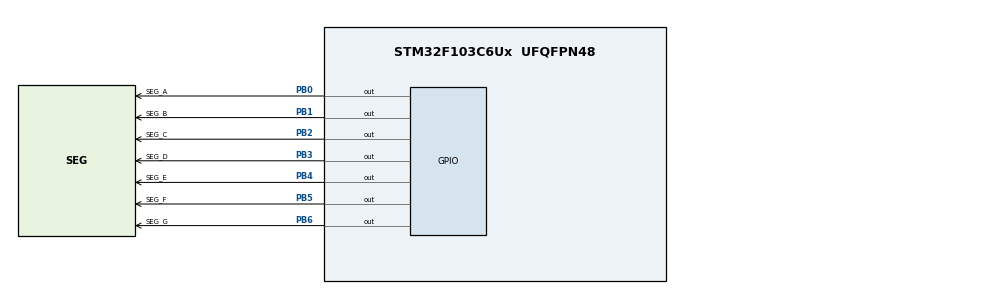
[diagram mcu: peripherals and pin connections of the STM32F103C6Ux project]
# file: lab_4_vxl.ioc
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Mcu.Family=STM32F1
Mcu.Name=STM32F103C6Ux
Mcu.Package=UFQFPN48
NVIC.PriorityGroup=NVIC_PRIORITYGROUP_4
PB0.GPIO_Label=SEG_A
PB0.Signal=GPIO_Output
PB1.GPIO_Label=SEG_B
PB1.Signal=GPIO_Output
PB2.GPIO_Label=SEG_C
PB2.Signal=GPIO_Output
PB3.GPIO_Label=SEG_D
PB3.Signal=GPIO_Output
PB4.GPIO_Label=SEG_E
PB4.Signal=GPIO_Output
PB5.GPIO_Label=SEG_F
PB5.Signal=GPIO_Output
PB6.GPIO_Label=SEG_G
PB6.Signal=GPIO_Output
ProjectManager.HeapSize=0x200
ProjectManager.StackSize=0x400
ProjectManager.TargetToolchain=STM32CubeIDE
RCC.APB1Freq_Value=8000000
RCC.APB2Freq_Value=8000000
VP_SYS_VS_ND.Mode=No_Debug
board=custom

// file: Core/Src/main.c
/* USER CODE BEGIN Header */
/**
  ******************************************************************************
  * @file           : main.c
  * @brief          : Main program body
  ******************************************************************************
  * @attention
  *
  * <h2><center>&copy; Copyright (c) 2026 STMicroelectronics.
  * All rights reserved.</center></h2>
  *
  * This software component is licensed by ST under BSD 3-Clause license,
  * the "License"; You may not use this file except in compliance with the
  * License. You may obtain a copy of the License at:
  *                        opensource.org/licenses/BSD-3-Clause
  *
  ******************************************************************************
  */
/* USER CODE END Header */
#include "main.h"

void SystemClock_Config(void);
static void MX_GPIO_Init(void);

/* USER CODE BEGIN 0 */

void display7SEG(int num)
{
    switch (num)
    {
        case 0:
            HAL_GPIO_WritePin(GPIOB, SEG_A_Pin, GPIO_PIN_RESET);
            HAL_GPIO_WritePin(GPIOB, SEG_B_Pin, GPIO_PIN_RESET);
            HAL_GPIO_WritePin(GPIOB, SEG_C_Pin, GPIO_PIN_RESET);
            HAL_GPIO_WritePin(GPIOB, SEG_D_Pin, GPIO_PIN_RESET);
            HAL_GPIO_WritePin(GPIOB, SEG_E_Pin, GPIO_PIN_RESET);
            HAL_GPIO_WritePin(GPIOB, SEG_F_Pin, GPIO_PIN_RESET);
            HAL_GPIO_WritePin(GPIOB, SEG_G_Pin, GPIO_PIN_SET);
            break;

        case 1:
            HAL_GPIO_WritePin(GPIOB, SEG_A_Pin, GPIO_PIN_SET);
            HAL_GPIO_WritePin(GPIOB, SEG_B_Pin, GPIO_PIN_RESET);
            HAL_GPIO_WritePin(GPIOB, SEG_C_Pin, GPIO_PIN_RESET);
            HAL_GPIO_WritePin(GPIOB, SEG_D_Pin, GPIO_PIN_SET);
            HAL_GPIO_WritePin(GPIOB, SEG_E_Pin, GPIO_PIN_SET);
            HAL_GPIO_WritePin(GPIOB, SEG_F_Pin, GPIO_PIN_SET);
            HAL_GPIO_WritePin(GPIOB, SEG_G_Pin, GPIO_PIN_SET);
            break;

        case 2:
            HAL_GPIO_WritePin(GPIOB, SEG_A_Pin, GPIO_PIN_RESET);
            HAL_GPIO_WritePin(GPIOB, SEG_B_Pin, GPIO_PIN_RESET);
            HAL_GPIO_WritePin(GPIOB, SEG_C_Pin, GPIO_PIN_SET);
            HAL_GPIO_WritePin(GPIOB, SEG_D_Pin, GPIO_PIN_RESET);
            HAL_GPIO_WritePin(GPIOB, SEG_E_Pin, GPIO_PIN_RESET);
            HAL_GPIO_WritePin(GPIOB, SEG_F_Pin, GPIO_PIN_SET);
            HAL_GPIO_WritePin(GPIOB, SEG_G_Pin, GPIO_PIN_RESET);
            break;

        case 3:
            HAL_GPIO_WritePin(GPIOB, SEG_A_Pin, GPIO_PIN_RESET);
            HAL_GPIO_WritePin(GPIOB, SEG_B_Pin, GPIO_PIN_RESET);
            HAL_GPIO_WritePin(GPIOB, SEG_C_Pin, GPIO_PIN_RESET);
            HAL_GPIO_WritePin(GPIOB, SEG_D_Pin, GPIO_PIN_RESET);
            HAL_GPIO_WritePin(GPIOB, SEG_E_Pin, GPIO_PIN_SET);
            HAL_GPIO_WritePin(GPIOB, SEG_F_Pin, GPIO_PIN_SET);
            HAL_GPIO_WritePin(GPIOB, SEG_G_Pin, GPIO_PIN_RESET);
            break;

        case 4:
            HAL_GPIO_WritePin(GPIOB, SEG_A_Pin, GPIO_PIN_SET);
            HAL_GPIO_WritePin(GPIOB, SEG_B_Pin, GPIO_PIN_RESET);
            HAL_GPIO_WritePin(GPIOB, SEG_C_Pin, GPIO_PIN_RESET);
            HAL_GPIO_WritePin(GPIOB, SEG_D_Pin, GPIO_PIN_SET);
            HAL_GPIO_WritePin(GPIOB, SEG_E_Pin, GPIO_PIN_SET);
            HAL_GPIO_WritePin(GPIOB, SEG_F_Pin, GPIO_PIN_RESET);
            HAL_GPIO_WritePin(GPIOB, SEG_G_Pin, GPIO_PIN_RESET);
            break;

        case 5:
            HAL_GPIO_WritePin(GPIOB, SEG_A_Pin, GPIO_PIN_RESET);
            HAL_GPIO_WritePin(GPIOB, SEG_B_Pin, GPIO_PIN_SET);
            HAL_GPIO_WritePin(GPIOB, SEG_C_Pin, GPIO_PIN_RESET);
            HAL_GPIO_WritePin(GPIOB, SEG_D_Pin, GPIO_PIN_RESET);
            HAL_GPIO_WritePin(GPIOB, SEG_E_Pin, GPIO_PIN_SET);
            HAL_GPIO_WritePin(GPIOB, SEG_F_Pin, GPIO_PIN_RESET);
            HAL_GPIO_WritePin(GPIOB, SEG_G_Pin, GPIO_PIN_RESET);
            break;

        case 6:
            HAL_GPIO_WritePin(GPIOB, SEG_A_Pin, GPIO_PIN_RESET);
            HAL_GPIO_WritePin(GPIOB, SEG_B_Pin, GPIO_PIN_SET);
            HAL_GPIO_WritePin(GPIOB, SEG_C_Pin, GPIO_PIN_RESET);
            HAL_GPIO_WritePin(GPIOB, SEG_D_Pin, GPIO_PIN_RESET);
            HAL_GPIO_WritePin(GPIOB, SEG_E_Pin, GPIO_PIN_RESET);
            HAL_GPIO_WritePin(GPIOB, SEG_F_Pin, GPIO_PIN_RESET);
            HAL_GPIO_WritePin(GPIOB, SEG_G_Pin, GPIO_PIN_RESET);
            break;

        case 7:
            HAL_GPIO_WritePin(GPIOB, SEG_A_Pin, GPIO_PIN_RESET);
            HAL_GPIO_WritePin(GPIOB, SEG_B_Pin, GPIO_PIN_RESET);
            HAL_GPIO_WritePin(GPIOB, SEG_C_Pin, GPIO_PIN_RESET);
            HAL_GPIO_WritePin(GPIOB, SEG_D_Pin, GPIO_PIN_SET);
            HAL_GPIO_WritePin(GPIOB, SEG_E_Pin, GPIO_PIN_SET);
            HAL_GPIO_WritePin(GPIOB, SEG_F_Pin, GPIO_PIN_SET);
            HAL_GPIO_WritePin(GPIOB, SEG_G_Pin, GPIO_PIN_SET);
            break;

        case 8:
            HAL_GPIO_WritePin(GPIOB, SEG_A_Pin, GPIO_PIN_RESET);
            HAL_GPIO_WritePin(GPIOB, SEG_B_Pin, GPIO_PIN_RESET);
            HAL_GPIO_WritePin(GPIOB, SEG_C_Pin, GPIO_PIN_RESET);
            HAL_GPIO_WritePin(GPIOB, SEG_D_Pin, GPIO_PIN_RESET);
            HAL_GPIO_WritePin(GPIOB, SEG_E_Pin, GPIO_PIN_RESET);
            HAL_GPIO_WritePin(GPIOB, SEG_F_Pin, GPIO_PIN_RESET);
            HAL_GPIO_WritePin(GPIOB, SEG_G_Pin, GPIO_PIN_RESET);
            break;

        case 9:
            HAL_GPIO_WritePin(GPIOB, SEG_A_Pin, GPIO_PIN_RESET);
            HAL_GPIO_WritePin(GPIOB, SEG_B_Pin, GPIO_PIN_RESET);
            HAL_GPIO_WritePin(GPIOB, SEG_C_Pin, GPIO_PIN_RESET);
            HAL_GPIO_WritePin(GPIOB, SEG_D_Pin, GPIO_PIN_RESET);
            HAL_GPIO_WritePin(GPIOB, SEG_E_Pin, GPIO_PIN_SET);
            HAL_GPIO_WritePin(GPIOB, SEG_F_Pin, GPIO_PIN_RESET);
            HAL_GPIO_WritePin(GPIOB, SEG_G_Pin, GPIO_PIN_RESET);
            break;

        default:
            // Tắt tất cả các đoạn
            HAL_GPIO_WritePin(GPIOB,
                              SEG_A_Pin | SEG_B_Pin | SEG_C_Pin |
                              SEG_D_Pin | SEG_E_Pin | SEG_F_Pin |
                              SEG_G_Pin,
                              GPIO_PIN_SET);
            break;
    }
}

/* USER CODE END 0 */

int main(void)
{

  /* MCU Configuration--------------------------------------------------------*/

  /* Reset of all peripherals, Initializes the Flash interface and the Systick. */
  HAL_Init();

  /* Configure the system clock */
  SystemClock_Config();

  /* Initialize all configured peripherals */
  MX_GPIO_Init();

  /* Infinite loop */
  while (1)
  {

    /* USER CODE BEGIN 3 */

    for (int counter = 0; counter <= 9; counter++)
    {
        display7SEG(counter);
        HAL_Delay(1000);
    }

  /* USER CODE END 3 */
}
}

void SystemClock_Config(void)
{
  RCC_OscInitTypeDef RCC_OscInitStruct = {0};
  RCC_ClkInitTypeDef RCC_ClkInitStruct = {0};

  /** Initializes the RCC Oscillators according to the specified parameters
  * in the RCC_OscInitTypeDef structure.
  */
  RCC_OscInitStruct.OscillatorType = RCC_OSCILLATORTYPE_HSI;
  RCC_OscInitStruct.HSIState = RCC_HSI_ON;
  RCC_OscInitStruct.HSICalibrationValue = RCC_HSICALIBRATION_DEFAULT;
  RCC_OscInitStruct.PLL.PLLState = RCC_PLL_NONE;
  if (HAL_RCC_OscConfig(&RCC_OscInitStruct) != HAL_OK)
  {
    Error_Handler();
  }
  /** Initializes the CPU, AHB and APB buses clocks
  */
  RCC_ClkInitStruct.ClockType = RCC_CLOCKTYPE_HCLK|RCC_CLOCKTYPE_SYSCLK
                              |RCC_CLOCKTYPE_PCLK1|RCC_CLOCKTYPE_PCLK2;
  RCC_ClkInitStruct.SYSCLKSource = RCC_SYSCLKSOURCE_HSI;
  RCC_ClkInitStruct.AHBCLKDivider = RCC_SYSCLK_DIV1;
  RCC_ClkInitStruct.APB1CLKDivider = RCC_HCLK_DIV1;
  RCC_ClkInitStruct.APB2CLKDivider = RCC_HCLK_DIV1;

  if (HAL_RCC_ClockConfig(&RCC_ClkInitStruct, FLASH_LATENCY_0) != HAL_OK)
  {
    Error_Handler();
  }
}

static void MX_GPIO_Init(void)
{
  GPIO_InitTypeDef GPIO_InitStruct = {0};

  /* GPIO Ports Clock Enable */
  __HAL_RCC_GPIOB_CLK_ENABLE();

  /*Configure GPIO pin Output Level */
  HAL_GPIO_WritePin(GPIOB, SEG_A_Pin|SEG_B_Pin|SEG_C_Pin|SEG_D_Pin
                          |SEG_E_Pin|SEG_F_Pin|SEG_G_Pin, GPIO_PIN_RESET);

  /*Configure GPIO pins : SEG_A_Pin SEG_B_Pin SEG_C_Pin SEG_D_Pin
                           SEG_E_Pin SEG_F_Pin SEG_G_Pin */
  GPIO_InitStruct.Pin = SEG_A_Pin|SEG_B_Pin|SEG_C_Pin|SEG_D_Pin
                          |SEG_E_Pin|SEG_F_Pin|SEG_G_Pin;
  GPIO_InitStruct.Mode = GPIO_MODE_OUTPUT_PP;
  GPIO_InitStruct.Pull = GPIO_NOPULL;
  GPIO_InitStruct.Speed = GPIO_SPEED_FREQ_LOW;
  HAL_GPIO_Init(GPIOB, &GPIO_InitStruct);

}

void Error_Handler(void)
{
  __disable_irq();
  while (1)
  {
  }
}

/************************ (C) COPYRIGHT STMicroelectronics *****END OF FILE****/
